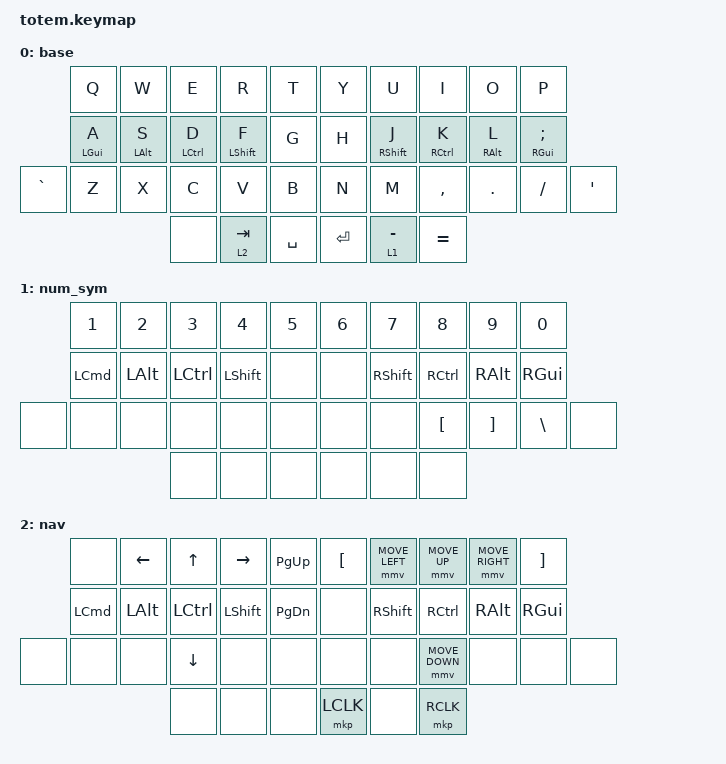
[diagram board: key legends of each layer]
//
//                                                        ▀▀▀▀▀     ▀▀▀▀▀          ▀▀█▀▀
//                                                        ▄▀▀▀▄  ▄  ▄▀▀▀▄  ▄  ▄▀▀▀▄  █  ▄▀▀▀▄
//                                                        █   █  █  █   █  █  █   █  █  █   █
//                                                         ▀▀▀   █   ▀▀▀   █   ▀▀▀   ▀   ▀▀▀
//                                                               █      ▄▄▄█▄▄▄    █   █  
//                                                               ▀      █  █  █     █▄█
//                                                             ▀▀▀▀▀    █  █  █      ▀
//                                                                      ▀  ▀  ▀
//
// ▄▄▄▄▄▄▄▄▄▄▄▄▄▄▄▄▄▄▄▄▄▄▄▄▄▄▄▄▄▄▄▄▄▄▄▄▄▄▄▄▄▄▄▄▄▄▄▄▄▄▄▄▄▄▄▄▄▄▄▄▄▄▄▄▄▄▄▄▄▄▄▄▄▄▄▄▄▄▄▄▄▄▄▄▄▄▄▄▄▄▄▄▄▄▄▄▄▄▄▄▄▄▄▄▄▄▄▄▄▄▄▄▄▄▄▄▄▄▄▄▄▄▄▄▄▄▄▄▄▄▄▄▄▄▄▄▄▄▄▄▄▄▄▄▄▄▄▄▄

#include <behaviors.dtsi>
#include <dt-bindings/zmk/keys.h>
#include <dt-bindings/zmk/pointing.h>

#define BASE 0
#define NAV  1
#define SYM  2
#define ADJ  3
#define TVP1 4
#define TVP2 5

&mt {
    quick-tap-ms = <100>;
    global-quick-tap;
    flavor = "tap-preferred";
    tapping-term-ms = <170>;
};

&mmv { time-to-max-speed-ms = <100>; };

/ {
    combos {
        compatible = "zmk,combos";

        combo_esc {
            timeout-ms = <50>;
            key-positions = <0 1>;
            bindings = <&kp ESC>;
        };

        combo_bkspc {
            bindings = <&kp BACKSPACE>;
            key-positions = <8 9>;
        };
    };

    keymap {
        compatible = "zmk,keymap";

        // ▄▄▄▄▄▄▄▄▄▄▄▄▄▄▄▄▄▄▄▄▄▄▄▄▄▄▄▄▄▄▄▄▄▄▄▄▄▄▄▄▄▄▄▄▄▄▄▄▄▄▄▄▄▄▄▄▄▄▄▄▄▄▄▄▄▄▄▄▄▄▄▄▄▄▄▄▄▄▄▄▄▄▄▄▄▄▄▄▄▄▄▄▄▄▄▄▄▄▄▄▄▄▄▄▄▄▄▄▄▄▄▄▄▄▄▄▄▄▄▄▄▄▄▄▄▄▄▄▄▄▄▄▄▄▄▄▄▄▄▄▄▄▄▄▄▄▄▄▄

        base {
            // ┏━━━━━━━━━━━━━━━━━━━━━━━━━━━━━━━━━━━━━━━┓
            // ┗━━━━━━━━━━━━━━━━━━━━━━━━━━━━━━━━━━━━━━━┛
            //             ┏━━━━━━━━━━━┳━━━━━━━━━━━┳━━━━━━━━━━━┳━━━━━━━━━━━┳━━━━━━━━━━━┓   ┏━━━━━━━━━━━┳━━━━━━━━━━━┳━━━━━━━━━━━┳━━━━━━━━━━━┳━━━━━━━━━━━┓
            //             ┃     Q     ┃     W     ┃     F     ┃     P     ┃     G     ┃   ┃     J     ┃     L     ┃     U     ┃     Y     ┃     ;     ┃
            //             ┣━━━━━━━━━━━╋━━━━━━━━━━━╋━━━━━━━━━━━╋━━━━━━━━━━━╋━━━━━━━━━━━┫   ┣━━━━━━━━━━━╋━━━━━━━━━━━╋━━━━━━━━━━━╋━━━━━━━━━━━╋━━━━━━━━━━━┫
            //             ┃     A     ┃     R     ┃     S     ┃     T     ┃     D     ┃   ┃     H     ┃     N     ┃     E     ┃     I     ┃     O     ┃
            // ┏━━━━━━━━━━━╋━━━━━━━━━━━╋━━━━━━━━━━━╋━━━━━━━━━━━╋━━━━━━━━━━━╋━━━━━━━━━━━┫   ┣━━━━━━━━━━━╋━━━━━━━━━━━╋━━━━━━━━━━━╋━━━━━━━━━━━╋━━━━━━━━━━━╋━━━━━━━━━━━┓
            // ┃     Q     ┃     Z     ┃     X     ┃     C     ┃     V     ┃     B     ┃   ┃     K     ┃     M     ┃     ,     ┃     .     ┃     /     ┃     \     ┃
            // ┗━━━━━━━━━━━┻━━━━━━━━━━━┻━━━━━━━━━━━╋━━━━━━━━━━━╋━━━━━━━━━━━╋━━━━━━━━━━━┫   ┣━━━━━━━━━━━╋━━━━━━━━━━━╋━━━━━━━━━━━╋━━━━━━━━━━━┻━━━━━━━━━━━┻━━━━━━━━━━━┛
            //                                     ┃    DEL    ┃    TAB    ┃    SPC    ┃   ┃   ENTER   ┃           ┃   BSPC    ┃
            //                                     ┗━━━━━━━━━━━┻━━━━━━━━━━━┻━━━━━━━━━━━┛   ┗━━━━━━━━━━━┻━━━━━━━━━━━┻━━━━━━━━━━━┛

            bindings = <
           &kp Q       &kp W       &kp E        &kp R        &kp T        &kp Y    &kp U        &kp I        &kp O       &kp P
           &mt LGUI A  &mt LALT S  &mt LCTRL D  &mt LSHFT F  &kp G        &kp H    &mt RSHFT J  &mt RCTRL K  &mt RALT L  &mt RGUI SEMICOLON
&kp GRAVE  &kp Z       &kp X       &kp C        &kp V        &kp B        &kp N    &kp M        &kp COMMA    &kp DOT     &kp FSLH            &kp SINGLE_QUOTE
                                   &none        &lt 2 TAB    &kp SPACE    &kp RET  &lt 1 MINUS  &kp EQUAL
            >;
        };

        // ▄▄▄▄▄▄▄▄▄▄▄▄▄▄▄▄▄▄▄▄▄▄▄▄▄▄▄▄▄▄▄▄▄▄▄▄▄▄▄▄▄▄▄▄▄▄▄▄▄▄▄▄▄▄▄▄▄▄▄▄▄▄▄▄▄▄▄▄▄▄▄▄▄▄▄▄▄▄▄▄▄▄▄▄▄▄▄▄▄▄▄▄▄▄▄▄▄▄▄▄▄▄▄▄▄▄▄▄▄▄▄▄▄▄▄▄▄▄▄▄▄▄▄▄▄▄▄▄▄▄▄▄▄▄▄▄▄▄▄▄▄▄▄▄▄▄▄▄▄
        // ▄▄▄▄▄▄▄▄▄▄▄▄▄▄▄▄▄▄▄▄▄▄▄▄▄▄▄▄▄▄▄▄▄▄▄▄▄▄▄▄▄▄▄▄▄▄▄▄▄▄▄▄▄▄▄▄▄▄▄▄▄▄▄▄▄▄▄▄▄▄▄▄▄▄▄▄▄▄▄▄▄▄▄▄▄▄▄▄▄▄▄▄▄▄▄▄▄▄▄▄▄▄▄▄▄▄▄▄▄▄▄▄▄▄▄▄▄▄▄▄▄▄▄▄▄▄▄▄▄▄▄▄▄▄▄▄▄▄▄▄▄▄▄▄▄▄▄▄▄

        num_sym {
            bindings = <
       &kp NUMBER_1      &kp NUMBER_2  &kp NUMBER_3      &kp NUMBER_4    &kp N5    &kp NUMBER_6  &kp NUMBER_7     &kp NUMBER_8       &kp NUMBER_9       &kp NUMBER_0
       &kp LEFT_COMMAND  &kp LEFT_ALT  &kp LEFT_CONTROL  &kp LEFT_SHIFT  &none     &none         &kp RIGHT_SHIFT  &kp RIGHT_CONTROL  &kp RIGHT_ALT      &kp RIGHT_GUI
&none  &none             &none         &none             &none           &none     &none         &none            &kp LEFT_BRACKET   &kp RIGHT_BRACKET  &kp BSLH       &none
                                       &none             &none           &none     &none         &none            &none
            >;
        };

        // ▄▄▄▄▄▄▄▄▄▄▄▄▄▄▄▄▄▄▄▄▄▄▄▄▄▄▄▄▄▄▄▄▄▄▄▄▄▄▄▄▄▄▄▄▄▄▄▄▄▄▄▄▄▄▄▄▄▄▄▄▄▄▄▄▄▄▄▄▄▄▄▄▄▄▄▄▄▄▄▄▄▄▄▄▄▄▄▄▄▄▄▄▄▄▄▄▄▄▄▄▄▄▄▄▄▄▄▄▄▄▄▄▄▄▄▄▄▄▄▄▄▄▄▄▄▄▄▄▄▄▄▄▄▄▄▄▄▄▄▄▄▄▄▄▄▄▄▄▄
        // ▄▄▄▄▄▄▄▄▄▄▄▄▄▄▄▄▄▄▄▄▄▄▄▄▄▄▄▄▄▄▄▄▄▄▄▄▄▄▄▄▄▄▄▄▄▄▄▄▄▄▄▄▄▄▄▄▄▄▄▄▄▄▄▄▄▄▄▄▄▄▄▄▄▄▄▄▄▄▄▄▄▄▄▄▄▄▄▄▄▄▄▄▄▄▄▄▄▄▄▄▄▄▄▄▄▄▄▄▄▄▄▄▄▄▄▄▄▄▄▄▄▄▄▄▄▄▄▄▄▄▄▄▄▄▄▄▄▄▄▄▄▄▄▄▄▄▄▄▄
        // ▄▄▄▄▄▄▄▄▄▄▄▄▄▄▄▄▄▄▄▄▄▄▄▄▄▄▄▄▄▄▄▄▄▄▄▄▄▄▄▄▄▄▄▄▄▄▄▄▄▄▄▄▄▄▄▄▄▄▄▄▄▄▄▄▄▄▄▄▄▄▄▄▄▄▄▄▄▄▄▄▄▄▄▄▄▄▄▄▄▄▄▄▄▄▄▄▄▄▄▄▄▄▄▄▄▄▄▄▄▄▄▄▄▄▄▄▄▄▄▄▄▄▄▄▄▄▄▄▄▄▄▄▄▄▄▄▄▄▄▄▄▄▄▄▄▄▄▄▄

        nav {
            bindings = <
       &none             &kp LEFT      &kp UP            &kp RIGHT       &kp PAGE_UP      &kp LEFT_BRACKET  &mmv MOVE_LEFT   &mmv MOVE_UP       &mmv MOVE_RIGHT  &kp RIGHT_BRACKET
       &kp LEFT_COMMAND  &kp LEFT_ALT  &kp LEFT_CONTROL  &kp LEFT_SHIFT  &kp PAGE_DOWN    &none             &kp RIGHT_SHIFT  &kp RIGHT_CONTROL  &kp RIGHT_ALT    &kp RIGHT_GUI
&none  &none             &none         &kp DOWN          &none           &none            &none             &none            &mmv MOVE_DOWN     &none            &none              &none
                                       &none             &none           &none            &mkp LCLK         &none            &mkp RCLK
            >;
        };
    };
};
